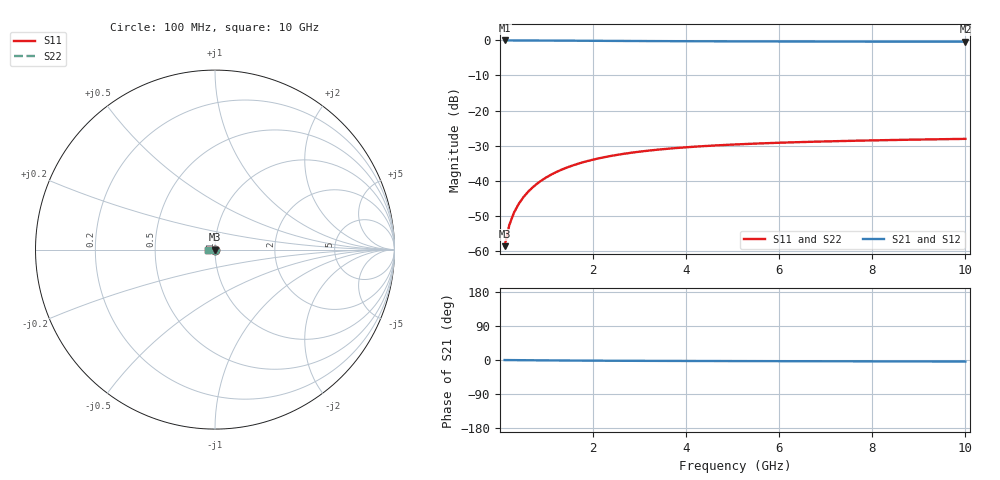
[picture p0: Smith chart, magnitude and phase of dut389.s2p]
! Touchstone file exported from HFSS 2024.1.0
!  File:  C:/UserFiles/LocalFiles/RDL_TSV_Batchsim/temp_TSV1_389_1779623623.aedt
!  Generated:  08:00:26 PM May 24, 2026
!  Design:  TSV1
!  Project:  temp_TSV1_389_1779623623
!  Setup:  Setup1
!  Solution:  Sweep
! Variables:
!  dtsv = 13.02um
!  hbump = 3um
!  htsv = 59.8um
!  lrdl = 252.1521522um
!  p = 40
!  p1 = 55.44um
!  t = 500um
!  trdl = 3um
!  wrdl = 24.89489489um
# GHz S MA R 50.000000
! Terminal data exported
! Port[1] = TSV22_T1
! Port[2] = TSV22_T2
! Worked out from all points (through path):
!   100 points, 100 MHz to 10 GHz, reference 50 ohm
!   highest |S21| = 0.00 dB at 100 MHz (marker M1); lowest = -0.4 dB at 10 GHz (marker M2)
!   lowest |S11| = -58.7 dB at 100 MHz (marker M3), VSWR 1.00, Z = 50 - j0.116 ohm
!   |S11| at or under -10 dB: start of sweep to end of sweep
!   |S22| runs from -58.7 to -28.1 dB; largest |S21 - S12| = 1e-14
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0.1  0.001157 -88.2  0.9999 -0.1  0.9999 -0.1  0.001157 -88.2
! Gamma 0 0 0 0
! Port Impedance 50 0 50 0
0.2  0.002312 -91.8  0.9998 -0.2  0.9998 -0.2  0.002312 -91.8
0.3  0.003465 -94.3  0.9995 -0.3  0.9995 -0.3  0.003465 -94.3
0.4  0.004611 -96.4  0.9993 -0.4  0.9993 -0.4  0.004611 -96.4
0.5  0.005747 -98.5  0.9989 -0.5  0.9989 -0.5  0.005747 -98.5
0.6  0.006868 -100.5  0.9985 -0.6  0.9985 -0.6  0.006868 -100.5
0.7  0.007971 -102.5  0.998 -0.7  0.998 -0.7  0.007971 -102.5
0.8  0.009052 -104.4  0.9975 -0.8  0.9975 -0.8  0.009052 -104.4
0.9  0.01011 -106.3  0.9969 -0.9  0.9969 -0.9  0.01011 -106.3
1.1  0.01215 -109.9  0.9956 -1.1  0.9956 -1.1  0.01215 -109.9
1.4  0.015 -115.0  0.9934 -1.3  0.9934 -1.3  0.015 -115.0
1.6  0.01674 -118.3  0.9918 -1.5  0.9918 -1.5  0.01674 -118.3
1.8  0.01837 -121.3  0.9902 -1.6  0.9902 -1.6  0.01837 -121.3
2.1  0.02059 -125.7  0.9878 -1.8  0.9878 -1.8  0.02059 -125.7
2.5  0.02317 -130.9  0.9846 -2.0  0.9846 -2.0  0.02317 -130.9
2.9  0.02536 -135.7  0.9817 -2.2  0.9817 -2.2  0.02536 -135.7
3.4  0.02764 -140.9  0.9784 -2.4  0.9784 -2.4  0.02764 -140.9
4.2  0.03048 -148.0  0.9739 -2.6  0.9739 -2.6  0.03048 -148.0
5.1  0.03285 -154.7  0.97 -2.9  0.97 -2.9  0.03285 -154.7
6.7  0.03577 -164.0  0.9651 -3.3  0.9651 -3.3  0.03577 -164.0
8.4  0.03787 -171.9  0.9617 -3.7  0.9617 -3.7  0.03787 -171.9
10  0.03937 -178.0  0.9595 -4.1  0.9595 -4.1  0.03937 -178.0
